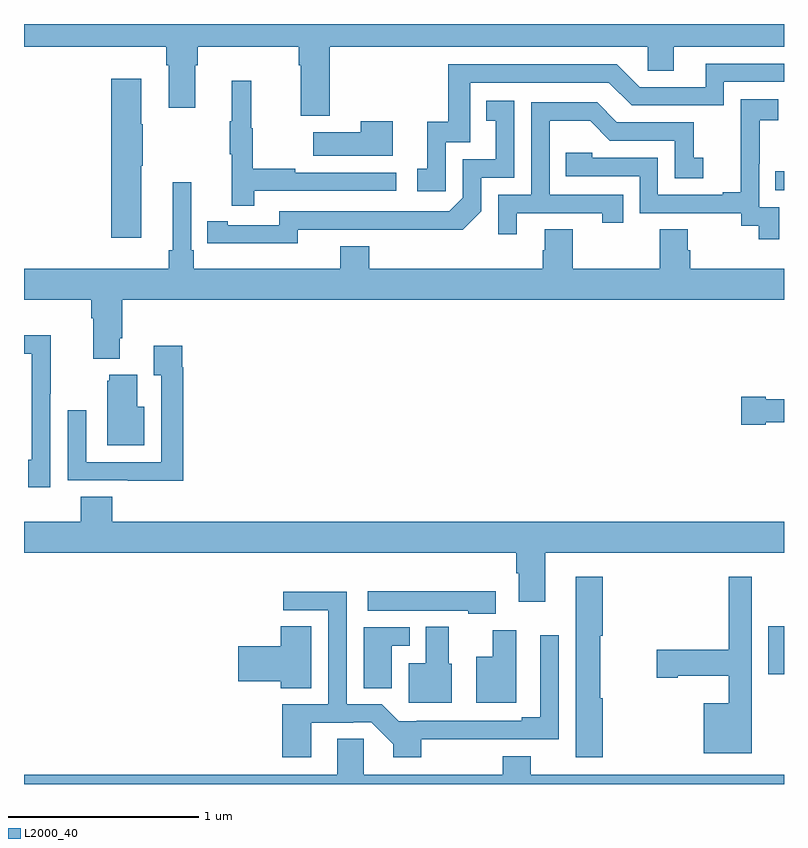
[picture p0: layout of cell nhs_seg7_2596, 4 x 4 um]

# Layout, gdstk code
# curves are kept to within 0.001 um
import gdstk
lib = gdstk.Library(unit=1e-6, precision=1e-09)
def R(c, l, rs):  # rectangles x0, y0, x1, y1
    for r in rs: c.add(gdstk.rectangle(r[:2], r[2:], *l))
def P(c, l, *ps):  # polygons
    for p in ps: c.add(gdstk.Polygon(p, *l))
L2000_40 = (2000, 40)

nhs_seg7_2596 = lib.new_cell('nhs_seg7_2596')
R(nhs_seg7_2596, L2000_40, [(282.917,1066.577,283,1066.831), (282.955,1069.125,283,1069.226)])
P(nhs_seg7_2596, L2000_40, [(280.61,1069.88),(282.282,1069.88),(282.282,1069.753),(282.421,1069.753),(282.421,1069.88),(283,1069.88),(283,1070),(279,1070),(279,1069.88),(279.749,1069.88),(279.749,1069.784),(279.761,1069.784),(279.761,1069.56),(279.901,1069.56),(279.901,1069.784),(279.914,1069.784),(279.914,1069.88),(280.445,1069.88),(280.445,1069.784),(280.457,1069.784),(280.457,1069.518),(280.61,1069.518)],
  [(281.22,1069.377),(281.349,1069.377),(281.349,1069.692),(282.078,1069.692),(282.198,1069.572),(282.684,1069.572),(282.684,1069.695),(283,1069.695),(283,1069.791),(282.587,1069.791),(282.587,1069.668),(282.24,1069.668),(282.12,1069.788),(281.233,1069.788),(281.233,1069.486),(281.123,1069.486),(281.123,1069.239),(281.07,1069.239),(281.07,1069.119),(281.22,1069.119)],
  [(279.616,1069.255),(279.624,1069.255),(279.624,1069.472),(279.616,1069.472),(279.616,1069.711),(279.458,1069.711),(279.458,1068.876),(279.616,1068.876)],
  [(280.211,1069.122),(280.96,1069.122),(280.96,1069.218),(280.427,1069.218),(280.427,1069.238),(280.204,1069.238),(280.204,1069.452),(280.196,1069.452),(280.196,1069.702),(280.094,1069.702),(280.094,1069.489),(280.083,1069.489),(280.083,1069.315),(280.094,1069.315),(280.094,1069.044),(280.211,1069.044)],
  [(282.975,1069.035),(282.87,1069.035),(282.87,1069.265),(282.872,1069.265),(282.872,1069.493),(282.97,1069.493),(282.97,1069.603),(282.772,1069.603),(282.772,1069.397),(282.773,1069.397),(282.773,1069.114),(282.677,1069.114),(282.677,1069.101),(282.336,1069.101),(282.336,1069.296),(281.991,1069.296),(281.991,1069.323),(281.851,1069.323),(281.851,1069.2),(282.24,1069.2),(282.24,1069.005),(282.774,1069.005),(282.774,1068.937),(282.867,1068.937),(282.867,1068.867),(282.975,1068.867)],
  [(280.44,1068.918),(281.308,1068.917),(281.406,1069.014),(281.406,1069.191),(281.58,1069.191),(281.58,1069.597),(281.434,1069.597),(281.434,1069.491),(281.483,1069.491),(281.483,1069.287),(281.31,1069.287),(281.31,1069.086),(281.238,1069.014),(280.344,1069.014),(280.344,1068.942),(280.072,1068.942),(280.072,1068.962),(279.964,1068.962),(279.964,1068.846),(280.44,1068.845)],
  [(281.593,1069.005),(282.044,1069.005),(282.044,1068.954),(282.155,1068.954),(282.155,1069.101),(281.766,1069.101),(281.766,1069.49),(281.98,1069.49),(282.084,1069.386),(282.426,1069.386),(282.426,1069.188),(282.574,1069.188),(282.574,1069.297),(282.525,1069.297),(282.525,1069.482),(282.121,1069.482),(282.016,1069.587),(281.67,1069.587),(281.67,1069.101),(281.496,1069.101),(281.496,1068.894),(281.593,1068.894)],
  [(280.942,1069.489),(280.772,1069.489),(280.772,1069.429),(280.523,1069.429),(280.523,1069.307),(280.942,1069.307)],
  [(279.505,1068.346),(279.518,1068.346),(279.518,1068.548),(283,1068.548),(283,1068.712),(282.506,1068.712),(282.506,1068.81),(282.493,1068.81),(282.493,1068.92),(282.346,1068.92),(282.346,1068.712),(281.889,1068.712),(281.889,1068.92),(281.741,1068.92),(281.741,1068.81),(281.729,1068.81),(281.729,1068.712),(280.817,1068.712),(280.817,1068.829),(280.664,1068.829),(280.664,1068.712),(279.893,1068.712),(279.893,1068.808),(279.879,1068.808),(279.879,1069.168),(279.782,1069.168),(279.782,1068.808),(279.763,1068.808),(279.763,1068.712),(279,1068.712),(279,1068.548),(279.353,1068.548),(279.353,1068.452),(279.365,1068.452),(279.365,1068.239),(279.505,1068.239)],
  [(279.138,1068.055),(279.141,1068.055),(279.141,1068.362),(279,1068.362),(279,1068.264),(279.041,1068.264),(279.041,1068.01),(279.042,1068.01),(279.042,1067.706),(279.023,1067.706),(279.023,1067.562),(279.138,1067.562)],
  [(279.839,1068.194),(279.832,1068.194),(279.832,1068.307),(279.683,1068.307),(279.683,1068.151),(279.723,1068.151),(279.723,1067.694),(279.327,1067.694),(279.327,1067.968),(279.231,1067.968),(279.231,1067.598),(279.547,1067.598),(279.547,1067.597),(279.839,1067.597)],
  [(279.634,1067.986),(279.595,1067.986),(279.595,1068.154),(279.449,1068.154),(279.449,1068.123),(279.437,1068.123),(279.437,1067.783),(279.634,1067.783)],
  [(282.903,1067.903),(283,1067.903),(283,1068.025),(282.903,1068.025),(282.903,1068.038),(282.774,1068.038),(282.774,1067.891),(282.903,1067.891)],
  [(281.743,1067.216),(283,1067.216),(283,1067.38),(279.464,1067.38),(279.464,1067.513),(279.299,1067.513),(279.299,1067.38),(279,1067.38),(279,1067.216),(281.591,1067.216),(281.591,1067.11),(281.603,1067.11),(281.603,1066.959),(281.743,1066.959)],
  [(282.829,1067.092),(282.708,1067.092),(282.708,1066.706),(282.33,1066.706),(282.33,1066.559),(282.442,1066.559),(282.442,1066.571),(282.708,1066.571),(282.708,1066.426),(282.578,1066.426),(282.578,1066.163),(282.829,1066.163)],
  [(282.047,1066.452),(282.034,1066.452),(282.034,1066.779),(282.047,1066.779),(282.047,1067.092),(281.903,1067.092),(281.903,1066.14),(282.047,1066.14)],
  [(281.482,1067.014),(280.809,1067.014),(280.809,1066.913),(281.337,1066.913),(281.337,1066.895),(281.482,1066.895)],
  [(280.513,1066.323),(280.733,1066.323),(280.733,1066.326),(280.827,1066.326),(280.943,1066.21),(280.943,1066.142),(281.091,1066.142),(281.091,1066.235),(281.814,1066.236),(281.814,1066.783),(281.718,1066.783),(281.718,1066.352),(281.621,1066.352),(281.621,1066.332),(281.068,1066.332),(281.068,1066.329),(280.972,1066.329),(280.882,1066.419),(280.698,1066.419),(280.698,1067.012),(280.365,1067.012),(280.365,1066.914),(280.602,1066.914),(280.602,1066.419),(280.358,1066.419),(280.358,1066.14),(280.513,1066.14)],
  [(280.513,1066.829),(280.352,1066.829),(280.352,1066.724),(280.128,1066.724),(280.128,1066.541),(280.352,1066.541),(280.352,1066.504),(280.513,1066.504)],
  [(281.251,1066.632),(281.236,1066.632),(281.236,1066.828),(281.114,1066.828),(281.114,1066.636),(281.024,1066.636),(281.024,1066.427),(281.251,1066.427)],
  [(280.936,1066.728),(281.029,1066.728),(281.029,1066.824),(280.787,1066.824),(280.787,1066.504),(280.936,1066.504)],
  [(281.59,1066.81),(281.468,1066.81),(281.468,1066.669),(281.381,1066.669),(281.381,1066.427),(281.59,1066.427)],
  [(283,1066.048),(281.668,1066.048),(281.668,1066.147),(281.521,1066.147),(281.521,1066.048),(280.788,1066.048),(280.788,1066.238),(280.649,1066.238),(280.649,1066.048),(279,1066.048),(279,1066),(283,1066)])

lib.write_gds('nhs_seg7_2596.gds')
